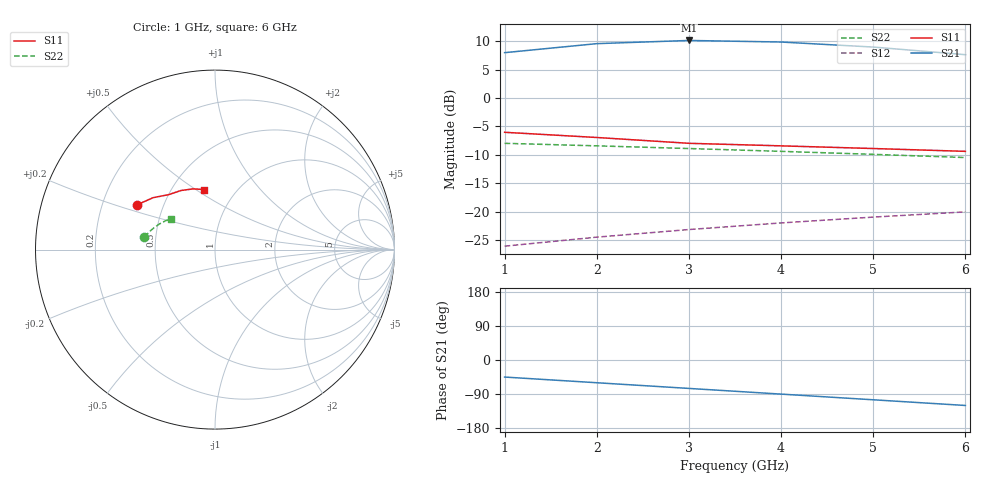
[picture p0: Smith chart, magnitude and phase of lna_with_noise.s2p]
! Demonstration LNA S-parameters + noise parameters (synthetic).
! Values are illustrative only — not from a real device measurement.
! S block: 50 Ω reference, MA format, frequencies in GHz.
! Noise block: 4 frequencies, freq Fmin_dB |Γopt| ∠Γopt° Rn/Z0.
# GHz S MA R 50
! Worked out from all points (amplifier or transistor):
!   6 points, 1 GHz to 6 GHz, reference 50 ohm
!   highest |S21| = 10.1 dB at 3 GHz (marker M1)
!   |S21| within 3 dB of that: start of sweep to end of sweep
!   unconditionally stable (mu >= 1): start of sweep to end of sweep
!   at 2 GHz: K = 1.96, MAG = 11.4 dB, |S12| = -24.4 dB
!   at 4 GHz: K = 1.61, MAG = 11.3 dB, |S12| = -21.9 dB
!   at 6 GHz: K = 1.75, MAG = 8.8 dB, |S12| = -20.0 dB
!   lowest NFmin = 0.60 dB at 1 GHz
1  0.5 150.0  2.5 -45.0  0.05 90.0  0.4 170.0
2  0.45 140.0  3 -60.0  0.06 85.0  0.38 165.0
3  0.4 130.0  3.2 -75.0  0.07 80.0  0.36 160.0
4  0.38 120.0  3.1 -90.0  0.08 75.0  0.34 155.0
5  0.36 110.0  2.8 -105.0  0.09 70.0  0.32 150.0
6  0.34 100.0  2.4 -120.0  0.1 65.0  0.3 145.0
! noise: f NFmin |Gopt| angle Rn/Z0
1  0.6  0.3  15  0.12
2  0.8  0.28  25  0.13
4  1.2  0.24  45  0.16
6  1.8  0.2  65  0.2
